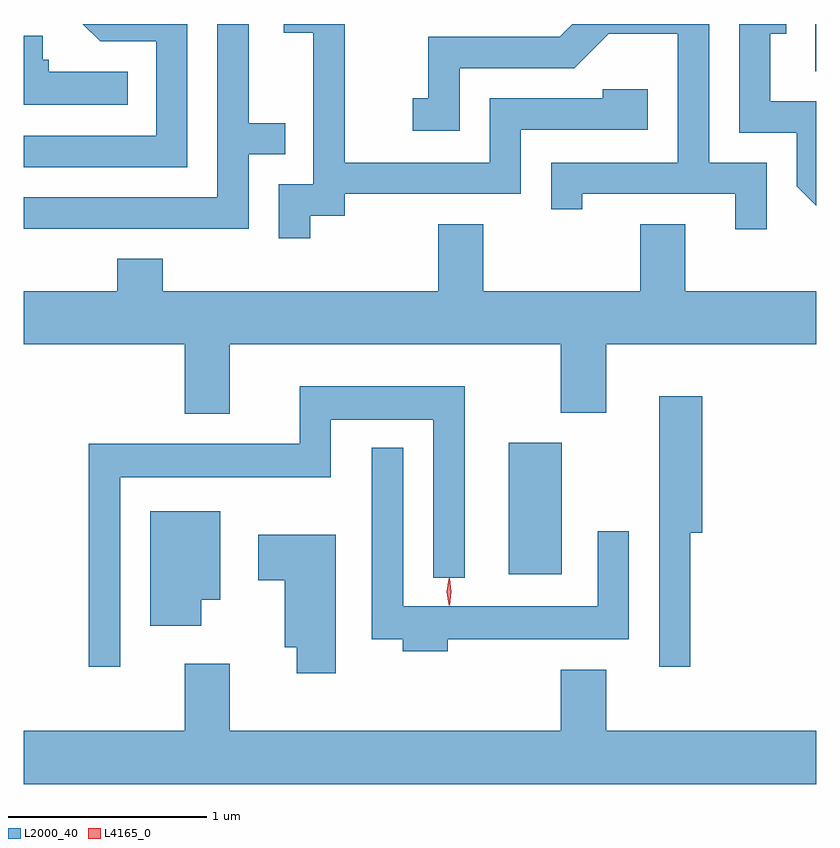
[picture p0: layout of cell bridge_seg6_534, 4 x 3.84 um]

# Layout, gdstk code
import gdstk
lib = gdstk.Library(unit=1e-6, precision=1e-09)
def R(c, l, rs):  # rectangles x0, y0, x1, y1
    for r in rs: c.add(gdstk.rectangle(r[:2], r[2:], *l))
def P(c, l, *ps):  # polygons
    for p in ps: c.add(gdstk.Polygon(p, *l))
L2000_40 = (2000, 40)
L4165_0 = (4165, 0)

bridge_seg6_534 = lib.new_cell('bridge_seg6_534')
R(bridge_seg6_534, L2000_40, [(413.206,1637.676,413.474,1638.339), (414.756,1640.216,414.759,1640.454)])
P(bridge_seg6_534, L2000_40, [(414.509,1639.754),(414.219,1639.754),(414.219,1640.454),(413.529,1640.454),(413.464,1640.389),(412.801,1640.389),(412.801,1640.079),(412.723,1640.079),(412.723,1639.916),(412.959,1639.916),(412.959,1640.231),(413.537,1640.231),(413.712,1640.406),(414.061,1640.406),(414.061,1639.754),(413.421,1639.754),(413.421,1639.518),(413.579,1639.518),(413.579,1639.596),(414.351,1639.596),(414.351,1639.418),(414.509,1639.418)],
  [(411.894,1639.796),(412.078,1639.796),(412.078,1639.954),(411.894,1639.954),(411.894,1640.454),(411.736,1640.454),(411.736,1639.579),(410.759,1639.579),(410.759,1639.421),(411.894,1639.421)],
  [(414.759,1640.064),(414.529,1640.064),(414.529,1640.406),(414.608,1640.406),(414.608,1640.454),(414.371,1640.454),(414.371,1639.906),(414.661,1639.906),(414.661,1639.634),(414.759,1639.536)],
  [(411.584,1640.454),(411.056,1640.454),(411.144,1640.366),(411.426,1640.366),(411.426,1639.889),(410.759,1639.889),(410.759,1639.731),(411.584,1639.731)],
  [(412.204,1639.486),(412.379,1639.486),(412.379,1639.596),(413.269,1639.596),(413.269,1639.921),(413.909,1639.921),(413.909,1640.124),(413.681,1640.124),(413.681,1640.079),(413.111,1640.079),(413.111,1639.754),(412.379,1639.754),(412.379,1640.454),(412.071,1640.454),(412.071,1640.411),(412.221,1640.411),(412.221,1639.644),(412.046,1639.644),(412.046,1639.373),(412.204,1639.373)],
  [(411.283,1640.214),(410.884,1640.214),(410.884,1640.274),(410.854,1640.274),(410.854,1640.394),(410.759,1640.394),(410.759,1640.046),(411.283,1640.046)],
  [(411.231,1639.269),(411.231,1639.104),(410.759,1639.104),(410.759,1638.836),(411.571,1638.836),(411.571,1638.486),(411.799,1638.486),(411.799,1638.836),(413.471,1638.836),(413.471,1638.491),(413.699,1638.491),(413.699,1638.836),(414.759,1638.836),(414.759,1639.104),(414.099,1639.104),(414.099,1639.444),(413.871,1639.444),(413.871,1639.104),(413.079,1639.104),(413.079,1639.444),(412.851,1639.444),(412.851,1639.104),(411.459,1639.104),(411.459,1639.269)],
  [(411.244,1638.166),(412.309,1638.166),(412.309,1638.456),(412.826,1638.456),(412.826,1637.658),(412.984,1637.658),(412.984,1638.624),(412.151,1638.624),(412.151,1638.334),(411.086,1638.334),(411.086,1637.208),(411.244,1637.208)],
  [(414.124,1637.886),(414.184,1637.886),(414.184,1638.574),(413.966,1638.574),(413.966,1637.208),(414.124,1637.208)],
  [(412.899,1637.346),(413.814,1637.346),(413.814,1637.893),(413.656,1637.893),(413.656,1637.514),(412.674,1637.514),(412.674,1638.313),(412.516,1638.313),(412.516,1637.346),(412.671,1637.346),(412.671,1637.286),(412.899,1637.286)],
  [(411.654,1637.546),(411.749,1637.546),(411.749,1637.994),(411.396,1637.994),(411.396,1637.416),(411.654,1637.416)],
  [(412.334,1637.874),(411.941,1637.874),(411.941,1637.646),(412.076,1637.646),(412.076,1637.306),(412.136,1637.306),(412.136,1637.176),(412.334,1637.176)],
  [(414.759,1636.884),(413.699,1636.884),(413.699,1637.194),(413.471,1637.194),(413.471,1636.884),(411.799,1636.884),(411.799,1637.224),(411.571,1637.224),(411.571,1636.884),(410.759,1636.884),(410.759,1636.616),(414.759,1636.616)])
P(bridge_seg6_534, L4165_0, [(412.905,1637.52),(412.905,1637.52),(412.895,1637.586),(412.905,1637.652),(412.905,1637.653),(412.906,1637.652),(412.915,1637.586),(412.906,1637.52)],
  [(412.908,1637.517),(412.908,1637.517),(412.898,1637.587),(412.908,1637.656),(412.908,1637.656),(412.908,1637.656),(412.918,1637.587),(412.908,1637.517)])

lib.write_gds('bridge_seg6_534.gds')
